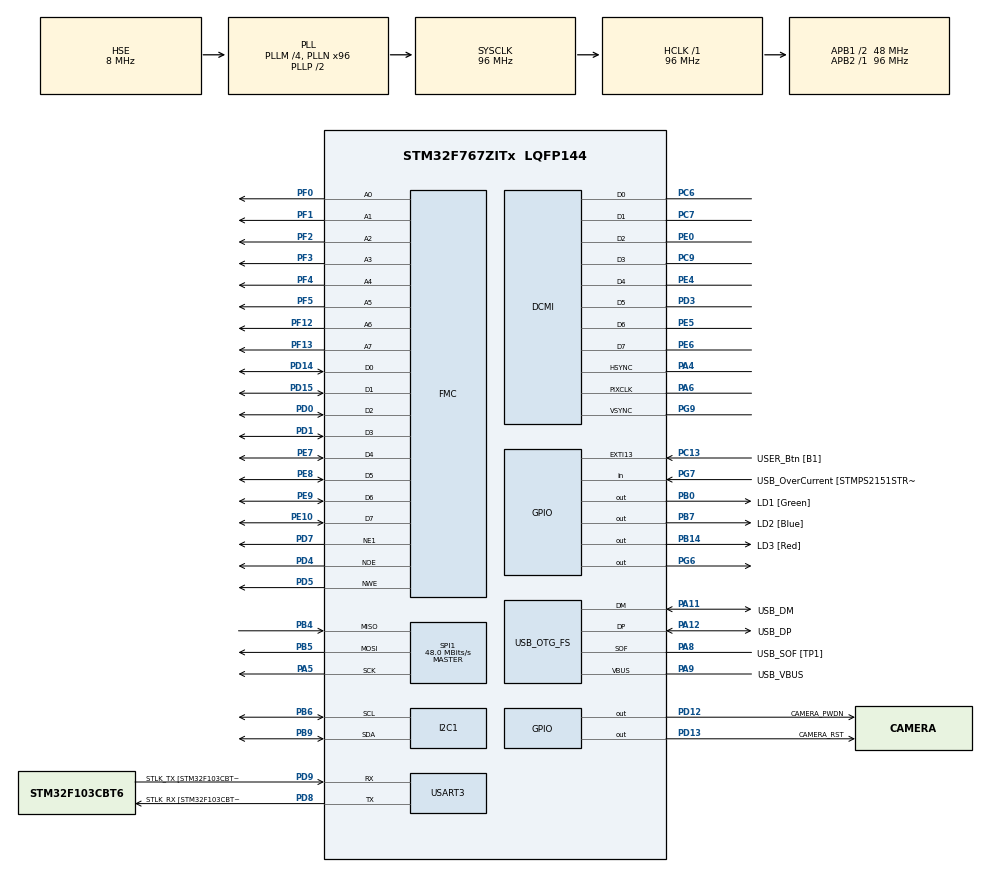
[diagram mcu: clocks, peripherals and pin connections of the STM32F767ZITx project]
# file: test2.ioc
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DCMI.JPEGMode=DCMI_JPEG_DISABLE
DCMI.PCKPolarity=DCMI_PCKPOLARITY_RISING
Dma.DCMI.0.Direction=DMA_PERIPH_TO_MEMORY
Dma.DCMI.0.FIFOMode=DMA_FIFOMODE_ENABLE
Dma.DCMI.0.FIFOThreshold=DMA_FIFO_THRESHOLD_FULL
Dma.DCMI.0.Instance=DMA2_Stream1
Dma.DCMI.0.MemBurst=DMA_MBURST_SINGLE
Dma.DCMI.0.MemDataAlignment=DMA_MDATAALIGN_WORD
Dma.DCMI.0.MemInc=DMA_MINC_ENABLE
Dma.DCMI.0.Mode=DMA_CIRCULAR
Dma.DCMI.0.PeriphBurst=DMA_PBURST_SINGLE
Dma.DCMI.0.PeriphDataAlignment=DMA_PDATAALIGN_WORD
Dma.DCMI.0.PeriphInc=DMA_PINC_DISABLE
Dma.DCMI.0.Priority=DMA_PRIORITY_MEDIUM
Dma.Request0=DCMI
I2C1.Timing=0x20303E5D
Mcu.Family=STM32F7
Mcu.Name=STM32F767ZITx
Mcu.Package=LQFP144
NVIC.DMA2_Stream1_IRQn=true\:0\:0\:false\:false\:true\:false\:true\:true
NVIC.PriorityGroup=NVIC_PRIORITYGROUP_4
PA1.GPIO_Label=RMII_REF_CLK [LAN8742A-CZ-TR_REFCLK0]
PA1.Signal=ETH_REF_CLK
PA10.GPIO_Label=USB_ID
PA10.Signal=USB_OTG_FS_ID
PA11.GPIO_Label=USB_DM
PA11.Mode=Device_Only
PA11.Signal=USB_OTG_FS_DM
PA12.GPIO_Label=USB_DP
PA12.Mode=Device_Only
PA12.Signal=USB_OTG_FS_DP
PA13.GPIO_Label=TMS
PA13.Mode=Serial_Wire
PA13.Signal=SYS_JTMS-SWDIO
PA14.GPIO_Label=TCK
PA14.Mode=Serial_Wire
PA14.Signal=SYS_JTCK-SWCLK
PA2.GPIO_Label=RMII_MDIO [LAN8742A-CZ-TR_MDIO]
PA2.Signal=ETH_MDIO
PA4.Mode=Slave_8_bits_External_Synchro
PA4.Signal=DCMI_HSYNC
PA5.Mode=Full_Duplex_Master
PA5.Signal=SPI1_SCK
PA6.Mode=Slave_8_bits_External_Synchro
PA6.Signal=DCMI_PIXCLK
PA7.GPIO_Label=RMII_CRS_DV [LAN8742A-CZ-TR_CRS_DV]
PA7.Signal=ETH_CRS_DV
PA8.GPIO_Label=USB_SOF [TP1]
PA8.Mode=Activate_SOF_FS
PA8.Signal=USB_OTG_FS_SOF
PA9.GPIO_Label=USB_VBUS
PA9.Mode=Activate_VBUS
PA9.Signal=USB_OTG_FS_VBUS
PB0.GPIO_Label=LD1 [Green]
PB0.Signal=GPIO_Output
PB13.GPIO_Label=RMII_TXD1 [LAN8742A-CZ-TR_TXD1]
PB13.Signal=ETH_TXD1
PB14.GPIO_Label=LD3 [Red]
PB14.Signal=GPIO_Output
PB3.GPIO_Label=SWO
PB3.Signal=SYS_JTDO-SWO
PB4.Mode=Full_Duplex_Master
PB4.Signal=SPI1_MISO
PB5.Mode=Full_Duplex_Master
PB5.Signal=SPI1_MOSI
PB6.GPIO_Pu=GPIO_NOPULL
PB6.Mode=I2C
PB6.Signal=I2C1_SCL
PB7.GPIO_Label=LD2 [Blue]
PB7.Signal=GPIO_Output
PB9.GPIO_Pu=GPIO_NOPULL
PB9.Mode=I2C
PB9.Signal=I2C1_SDA
PC1.GPIO_Label=RMII_MDC [LAN8742A-CZ-TR_MDC]
PC1.Signal=ETH_MDC
PC13.GPIO_Label=USER_Btn [B1]
PC13.Signal=GPXTI13
PC14/OSC32_IN.Mode=LSE-External-Oscillator
PC14/OSC32_IN.Signal=RCC_OSC32_IN
PC15/OSC32_OUT.Mode=LSE-External-Oscillator
PC15/OSC32_OUT.Signal=RCC_OSC32_OUT
PC4.GPIO_Label=RMII_RXD0 [LAN8742A-CZ-TR_RXD0]
PC4.Signal=ETH_RXD0
PC5.GPIO_Label=RMII_RXD1 [LAN8742A-CZ-TR_RXD1]
PC5.Signal=ETH_RXD1
PC6.Mode=Slave_8_bits_External_Synchro
PC6.Signal=DCMI_D0
PC7.Mode=Slave_8_bits_External_Synchro
PC7.Signal=DCMI_D1
PC9.Mode=Slave_8_bits_External_Synchro
PC9.Signal=DCMI_D3
PD0.Signal=FMC_D2_DA2
PD1.Signal=FMC_D3_DA3
PD12.GPIO_Label=CAMERA_PWDN
PD12.Signal=GPIO_Output
PD13.GPIO_Label=CAMERA_RST
PD13.Signal=GPIO_Output
PD14.Signal=FMC_D0_DA0
PD15.Signal=FMC_D1_DA1
PD3.Mode=Slave_8_bits_External_Synchro
PD3.Signal=DCMI_D5
PD4.Signal=FMC_NOE
PD5.Signal=FMC_NWE
PD7.Mode=NorPsramChipSelect1_1
PD7.Signal=FMC_NE1
PD8.GPIO_Label=STLK_RX [STM32F103CBT6_PA3]
PD8.Mode=Asynchronous
PD8.Signal=USART3_TX
PD9.GPIO_Label=STLK_TX [STM32F103CBT6_PA2]
PD9.Mode=Asynchronous
PD9.Signal=USART3_RX
PE0.Mode=Slave_8_bits_External_Synchro
PE0.Signal=DCMI_D2
PE10.Signal=FMC_D7_DA7
PE4.Mode=Slave_8_bits_External_Synchro
PE4.Signal=DCMI_D4
PE5.Mode=Slave_8_bits_External_Synchro
PE5.Signal=DCMI_D6
PE6.Mode=Slave_8_bits_External_Synchro
PE6.Signal=DCMI_D7
PE7.Signal=FMC_D4_DA4
PE8.Signal=FMC_D5_DA5
PE9.Signal=FMC_D6_DA6
PF0.Signal=FMC_A0
PF1.Signal=FMC_A1
PF12.Signal=FMC_A6
PF13.Signal=FMC_A7
PF2.Signal=FMC_A2
PF3.Signal=FMC_A3
PF4.Signal=FMC_A4
PF5.Signal=FMC_A5
PG11.GPIO_Label=RMII_TX_EN [LAN8742A-CZ-TR_TXEN]
PG11.Signal=ETH_TX_EN
PG13.GPIO_Label=RMII_TXD0 [LAN8742A-CZ-TR_TXD0]
PG13.Signal=ETH_TXD0
PG6.Signal=GPIO_Output
PG7.GPIO_Label=USB_OverCurrent [STMPS2151STR_FAULT]
PG7.Signal=GPIO_Input
PG9.Mode=Slave_8_bits_External_Synchro
PG9.Signal=DCMI_VSYNC
PH0/OSC_IN.GPIO_Label=MCO [STM32F103CBT6_PA8]
PH0/OSC_IN.Mode=HSE-External-Clock-Source
PH0/OSC_IN.Signal=RCC_OSC_IN
PH1/OSC_OUT.Mode=HSE-External-Clock-Source
PH1/OSC_OUT.Signal=RCC_OSC_OUT
ProjectManager.HeapSize=0x200
ProjectManager.StackSize=0x400
ProjectManager.TargetToolchain=STM32CubeIDE
RCC.48MHZClocksFreq_Value=24000000
RCC.AHBFreq_Value=96000000
RCC.APB1CLKDivider=RCC_HCLK_DIV2
RCC.APB1Freq_Value=48000000
RCC.APB1TimFreq_Value=96000000
RCC.APB2Freq_Value=96000000
RCC.APB2TimFreq_Value=96000000
RCC.CortexFreq_Value=96000000
RCC.HCLKFreq_Value=96000000
RCC.HSE_VALUE=8000000
RCC.HSI_VALUE=16000000
RCC.PLLM=4
RCC.PLLMUL=RCC_PLL_MUL9
RCC.PLLN=96
RCC.PLLQ=4
RCC.PRESCALERUSB=RCC_USBCLKSOURCE_PLL_DIV1_5
RCC.SYSCLKFreq_VALUE=96000000
RCC.SYSCLKSource=RCC_SYSCLKSOURCE_PLLCLK
RCC.SYSCLKSourceVirtual=RCC_SYSCLKSOURCE_PLLCLK
RCC.USBFreq_Value=48000000
RCC.VCOOutputFreq_Value=192000000
SH.FMC_A0.0=FMC_A0,8b-a1
SH.FMC_A1.0=FMC_A1,8b-a1
SH.FMC_A2.0=FMC_A2,8b-a1
SH.FMC_A3.0=FMC_A3,8b-a1
SH.FMC_A4.0=FMC_A4,8b-a1
SH.FMC_A5.0=FMC_A5,8b-a1
SH.FMC_A6.0=FMC_A6,8b-a1
SH.FMC_A7.0=FMC_A7,8b-a1
SH.FMC_D0_DA0.0=FMC_D0,8b-d1
SH.FMC_D1_DA1.0=FMC_D1,8b-d1
SH.FMC_D2_DA2.0=FMC_D2,8b-d1
SH.FMC_D3_DA3.0=FMC_D3,8b-d1
SH.FMC_D4_DA4.0=FMC_D4,8b-d1
SH.FMC_D5_DA5.0=FMC_D5,8b-d1
SH.FMC_D6_DA6.0=FMC_D6,8b-d1
SH.FMC_D7_DA7.0=FMC_D7,8b-d1
SH.FMC_NOE.0=FMC_NOE,Sram1
SH.FMC_NWE.0=FMC_NWE,Sram1
SPI1.CalculateBaudRate=48.0 MBits/s
SPI1.Direction=SPI_DIRECTION_2LINES
SPI1.Mode=SPI_MODE_MASTER
SPI1.VirtualType=VM_MASTER
USART3.VirtualMode-Asynchronous=VM_ASYNC
USB_OTG_FS.VirtualMode=Device_Only
board=NUCLEO-F767ZI

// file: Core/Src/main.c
/* USER CODE BEGIN Header */
/**
 ******************************************************************************
 * @file           : main.c
 * @brief          : Main program body
 ******************************************************************************
 * @attention
 *
 * Copyright (c) 2024 STMicroelectronics.
 * All rights reserved.
 *
 * This software is licensed under terms that can be found in the LICENSE file
 * in the root directory of this software component.
 * If no LICENSE file comes with this software, it is provided AS-IS.
 *
 ******************************************************************************
 */
/* USER CODE END Header */
#include "main.h"

/* USER CODE BEGIN Includes */
#include "ov5640.h"
#include "string.h"
#include <stdbool.h>
/* USER CODE END Includes */

DCMI_HandleTypeDef hdcmi;
DMA_HandleTypeDef hdma_dcmi;

I2C_HandleTypeDef hi2c1;

SPI_HandleTypeDef hspi1;

UART_HandleTypeDef huart3;

PCD_HandleTypeDef hpcd_USB_OTG_FS;

SRAM_HandleTypeDef hsram1;

void SystemClock_Config(void);
static void MX_GPIO_Init(void);
static void MX_USART3_UART_Init(void);
static void MX_USB_OTG_FS_PCD_Init(void);
static void MX_DCMI_Init(void);
static void MX_I2C1_Init(void);
static void MX_DMA_Init(void);
static void MX_FMC_Init(void);
static void MX_SPI1_Init(void);

/* USER CODE BEGIN 0 */

OV5640_Object_t p_cam;
OV5640_IO_t cam_i2c;
#define IMAGE_SIZE 320*240*2
uint8_t image[IMAGE_SIZE] = { 0 };
bool is_dma_usart_finish = 1;
bool toggle_dummy = 0;

void HAL_UART_TxCpltCallback(UART_HandleTypeDef *huart) {
	if (huart == &huart3) {
		is_dma_usart_finish = 1;
	}
}

int32_t OV5640_WriteReg(uint16_t device_address, uint16_t reg, uint8_t *data,
		uint16_t length) {
	if (HAL_I2C_Mem_Write(&hi2c1, device_address, reg, 2, data, length, 1000)
			== HAL_OK) {
		return OV5640_OK;
	}
	return OV5640_ERROR;
}
int32_t OV5640_ReadReg(uint16_t device_address, uint16_t reg, uint8_t *data,
		uint16_t length) {
	if (HAL_I2C_Mem_Read(&hi2c1, device_address + 1, reg, 2, data, length, 1000)
			== HAL_OK) {
		return OV5640_OK;
	}
	return OV5640_ERROR;
}
void OV5640_Powerup() {
	HAL_GPIO_WritePin(CAMERA_PWDN_GPIO_Port, CAMERA_PWDN_Pin, 0);
	HAL_GPIO_WritePin(CAMERA_RST_GPIO_Port, CAMERA_RST_Pin, 0);
	HAL_Delay(100);
	HAL_GPIO_WritePin(CAMERA_RST_GPIO_Port, CAMERA_RST_Pin, 1);
	HAL_Delay(500);
}

/* USER CODE END 0 */

int main(void)
{

  /* MCU Configuration--------------------------------------------------------*/

  /* Reset of all peripherals, Initializes the Flash interface and the Systick. */
  HAL_Init();

  /* Configure the system clock */
  SystemClock_Config();

  /* Initialize all configured peripherals */
  MX_GPIO_Init();
  MX_USART3_UART_Init();
  MX_USB_OTG_FS_PCD_Init();
  MX_DCMI_Init();
  MX_I2C1_Init();
  MX_DMA_Init();
  MX_FMC_Init();
  MX_SPI1_Init();
  /* USER CODE BEGIN 2 */
  cam_i2c.Address = 0x78;
  cam_i2c.WriteReg = OV5640_WriteReg;
  cam_i2c.ReadReg = OV5640_ReadReg;

  OV5640_RegisterBusIO(&p_cam, &cam_i2c);

	int32_t status = OV5640_ERROR;
	uint32_t resolution;
	uint8_t RGBGain[6];
	memset(RGBGain, 0, sizeof(RGBGain));

	OV5640_Powerup();
	status = OV5640_CAMERA_Driver.Init(&p_cam, OV5640_R320x240, OV5640_RGB565);
	// verify with resolution ()
	status = OV5640_CAMERA_Driver.GetResolution(&p_cam, &resolution);
	status = OV5640_CAMERA_Driver.SetColorEffect(&p_cam,
	OV5640_COLOR_EFFECT_NONE);
	status = OV5640_CAMERA_Driver.SetBrightness(&p_cam, 2);
	status = OV5640_CAMERA_Driver.SetSaturation(&p_cam, 0);
	status = OV5640_CAMERA_Driver.SetContrast(&p_cam, 0);
	status = OV5640_CAMERA_Driver.SetHueDegree(&p_cam, 0);
	status = OV5640_CAMERA_Driver.SetLightMode(&p_cam, OV5640_LIGHT_MANUAL_DEFAULT);
//	status = OV5640_CAMERA_Driver.SetLightMode(&p_cam, OV5640_LIGHT_AUTO);
	HAL_Delay(10000);

	/////////////////////////////////////////
	memset(image, 0, sizeof(image));
	//  status = OV5640_CAMERA_Driver.GetAWBRGBGain(&p_cam, RGBGain);
	HAL_DCMI_Start_DMA(&hdcmi, DCMI_MODE_SNAPSHOT, (uint32_t) image,
			sizeof(image));
	//  status = OV5640_CAMERA_Driver.GetAWBRGBGain(&p_cam, RGBGain);
	HAL_Delay(500);
	HAL_DCMI_Suspend(&hdcmi);
	HAL_DCMI_Stop(&hdcmi);
	HAL_Delay(500);

	if (sizeof(image) > 65535) {
		HAL_UART_Transmit(&huart3, image, 65535, 10000);
		HAL_UART_Transmit(&huart3, image + 65535, 65535, 10000);
		HAL_UART_Transmit(&huart3, image + 65535*2, sizeof(image) - 65535*2, 10000);
	} else {
		HAL_UART_Transmit(&huart3, image, sizeof(image), 10000);
	}
	HAL_Delay(500);
	/////////////////////////////////////////

  /* USER CODE END 2 */

  /* Infinite loop */
  /* USER CODE BEGIN WHILE */
	while (1) {

//  	  uint8_t dummy2[] = {'a','b','c'};
//
//
//  	  if (is_dma_usart_finish)
//  	  {
//  		  if (toggle_dummy)
//  		  {
//  			  HAL_UART_Transmit_DMA(&huart2, dummy, sizeof(dummy));
//  			  toggle_dummy = 0;
//  		  }
//  		  else
//  		  {
//  			  HAL_UART_Transmit_DMA(&huart2, dummy2, sizeof(dummy2));
//  			  toggle_dummy = 1;
//  		  }
//  		  is_dma_usart_finish = 0;
//  	  }

    /* USER CODE END WHILE */

	}
}

void SystemClock_Config(void)
{
  RCC_OscInitTypeDef RCC_OscInitStruct = {0};
  RCC_ClkInitTypeDef RCC_ClkInitStruct = {0};

  /** Configure LSE Drive Capability
  */
  HAL_PWR_EnableBkUpAccess();

  /** Configure the main internal regulator output voltage
  */
  __HAL_RCC_PWR_CLK_ENABLE();
  __HAL_PWR_VOLTAGESCALING_CONFIG(PWR_REGULATOR_VOLTAGE_SCALE3);

  /** Initializes the RCC Oscillators according to the specified parameters
  * in the RCC_OscInitTypeDef structure.
  */
  RCC_OscInitStruct.OscillatorType = RCC_OSCILLATORTYPE_HSE;
  RCC_OscInitStruct.HSEState = RCC_HSE_BYPASS;
  RCC_OscInitStruct.PLL.PLLState = RCC_PLL_ON;
  RCC_OscInitStruct.PLL.PLLSource = RCC_PLLSOURCE_HSE;
  RCC_OscInitStruct.PLL.PLLM = 4;
  RCC_OscInitStruct.PLL.PLLN = 96;
  RCC_OscInitStruct.PLL.PLLP = RCC_PLLP_DIV2;
  RCC_OscInitStruct.PLL.PLLQ = 4;
  RCC_OscInitStruct.PLL.PLLR = 2;
  if (HAL_RCC_OscConfig(&RCC_OscInitStruct) != HAL_OK)
  {
    Error_Handler();
  }

  /** Activate the Over-Drive mode
  */
  if (HAL_PWREx_EnableOverDrive() != HAL_OK)
  {
    Error_Handler();
  }

  /** Initializes the CPU, AHB and APB buses clocks
  */
  RCC_ClkInitStruct.ClockType = RCC_CLOCKTYPE_HCLK|RCC_CLOCKTYPE_SYSCLK
                              |RCC_CLOCKTYPE_PCLK1|RCC_CLOCKTYPE_PCLK2;
  RCC_ClkInitStruct.SYSCLKSource = RCC_SYSCLKSOURCE_PLLCLK;
  RCC_ClkInitStruct.AHBCLKDivider = RCC_SYSCLK_DIV1;
  RCC_ClkInitStruct.APB1CLKDivider = RCC_HCLK_DIV2;
  RCC_ClkInitStruct.APB2CLKDivider = RCC_HCLK_DIV1;

  if (HAL_RCC_ClockConfig(&RCC_ClkInitStruct, FLASH_LATENCY_3) != HAL_OK)
  {
    Error_Handler();
  }
}

static void MX_DCMI_Init(void)
{

  hdcmi.Instance = DCMI;
  hdcmi.Init.SynchroMode = DCMI_SYNCHRO_HARDWARE;
  hdcmi.Init.PCKPolarity = DCMI_PCKPOLARITY_RISING;
  hdcmi.Init.VSPolarity = DCMI_VSPOLARITY_HIGH;
  hdcmi.Init.HSPolarity = DCMI_HSPOLARITY_HIGH;
  hdcmi.Init.CaptureRate = DCMI_CR_ALL_FRAME;
  hdcmi.Init.ExtendedDataMode = DCMI_EXTEND_DATA_8B;
  hdcmi.Init.JPEGMode = DCMI_JPEG_DISABLE;
  hdcmi.Init.ByteSelectMode = DCMI_BSM_ALL;
  hdcmi.Init.ByteSelectStart = DCMI_OEBS_ODD;
  hdcmi.Init.LineSelectMode = DCMI_LSM_ALL;
  hdcmi.Init.LineSelectStart = DCMI_OELS_ODD;
  if (HAL_DCMI_Init(&hdcmi) != HAL_OK)
  {
    Error_Handler();
  }

}

static void MX_I2C1_Init(void)
{

  hi2c1.Instance = I2C1;
  hi2c1.Init.Timing = 0x20303E5D;
  hi2c1.Init.OwnAddress1 = 0;
  hi2c1.Init.AddressingMode = I2C_ADDRESSINGMODE_7BIT;
  hi2c1.Init.DualAddressMode = I2C_DUALADDRESS_DISABLE;
  hi2c1.Init.OwnAddress2 = 0;
  hi2c1.Init.OwnAddress2Masks = I2C_OA2_NOMASK;
  hi2c1.Init.GeneralCallMode = I2C_GENERALCALL_DISABLE;
  hi2c1.Init.NoStretchMode = I2C_NOSTRETCH_DISABLE;
  if (HAL_I2C_Init(&hi2c1) != HAL_OK)
  {
    Error_Handler();
  }

  /** Configure Analogue filter
  */
  if (HAL_I2CEx_ConfigAnalogFilter(&hi2c1, I2C_ANALOGFILTER_ENABLE) != HAL_OK)
  {
    Error_Handler();
  }

  /** Configure Digital filter
  */
  if (HAL_I2CEx_ConfigDigitalFilter(&hi2c1, 0) != HAL_OK)
  {
    Error_Handler();
  }

}

static void MX_SPI1_Init(void)
{

  /* SPI1 parameter configuration*/
  hspi1.Instance = SPI1;
  hspi1.Init.Mode = SPI_MODE_MASTER;
  hspi1.Init.Direction = SPI_DIRECTION_2LINES;
  hspi1.Init.DataSize = SPI_DATASIZE_4BIT;
  hspi1.Init.CLKPolarity = SPI_POLARITY_LOW;
  hspi1.Init.CLKPhase = SPI_PHASE_1EDGE;
  hspi1.Init.NSS = SPI_NSS_SOFT;
  hspi1.Init.BaudRatePrescaler = SPI_BAUDRATEPRESCALER_2;
  hspi1.Init.FirstBit = SPI_FIRSTBIT_MSB;
  hspi1.Init.TIMode = SPI_TIMODE_DISABLE;
  hspi1.Init.CRCCalculation = SPI_CRCCALCULATION_DISABLE;
  hspi1.Init.CRCPolynomial = 7;
  hspi1.Init.CRCLength = SPI_CRC_LENGTH_DATASIZE;
  hspi1.Init.NSSPMode = SPI_NSS_PULSE_ENABLE;
  if (HAL_SPI_Init(&hspi1) != HAL_OK)
  {
    Error_Handler();
  }

}

static void MX_USART3_UART_Init(void)
{

  huart3.Instance = USART3;
  huart3.Init.BaudRate = 115200;
  huart3.Init.WordLength = UART_WORDLENGTH_8B;
  huart3.Init.StopBits = UART_STOPBITS_1;
  huart3.Init.Parity = UART_PARITY_NONE;
  huart3.Init.Mode = UART_MODE_TX_RX;
  huart3.Init.HwFlowCtl = UART_HWCONTROL_NONE;
  huart3.Init.OverSampling = UART_OVERSAMPLING_16;
  huart3.Init.OneBitSampling = UART_ONE_BIT_SAMPLE_DISABLE;
  huart3.AdvancedInit.AdvFeatureInit = UART_ADVFEATURE_NO_INIT;
  if (HAL_UART_Init(&huart3) != HAL_OK)
  {
    Error_Handler();
  }

}

static void MX_USB_OTG_FS_PCD_Init(void)
{

  hpcd_USB_OTG_FS.Instance = USB_OTG_FS;
  hpcd_USB_OTG_FS.Init.dev_endpoints = 6;
  hpcd_USB_OTG_FS.Init.speed = PCD_SPEED_FULL;
  hpcd_USB_OTG_FS.Init.dma_enable = DISABLE;
  hpcd_USB_OTG_FS.Init.phy_itface = PCD_PHY_EMBEDDED;
  hpcd_USB_OTG_FS.Init.Sof_enable = ENABLE;
  hpcd_USB_OTG_FS.Init.low_power_enable = DISABLE;
  hpcd_USB_OTG_FS.Init.lpm_enable = DISABLE;
  hpcd_USB_OTG_FS.Init.vbus_sensing_enable = ENABLE;
  hpcd_USB_OTG_FS.Init.use_dedicated_ep1 = DISABLE;
  if (HAL_PCD_Init(&hpcd_USB_OTG_FS) != HAL_OK)
  {
    Error_Handler();
  }

}

static void MX_DMA_Init(void)
{

  /* DMA controller clock enable */
  __HAL_RCC_DMA2_CLK_ENABLE();

  /* DMA interrupt init */
  /* DMA2_Stream1_IRQn interrupt configuration */
  HAL_NVIC_SetPriority(DMA2_Stream1_IRQn, 0, 0);
  HAL_NVIC_EnableIRQ(DMA2_Stream1_IRQn);

}

/* FMC initialization function */
static void MX_FMC_Init(void)
{

  FMC_NORSRAM_TimingTypeDef Timing = {0};

  /** Perform the SRAM1 memory initialization sequence
  */
  hsram1.Instance = FMC_NORSRAM_DEVICE;
  hsram1.Extended = FMC_NORSRAM_EXTENDED_DEVICE;
  /* hsram1.Init */
  hsram1.Init.NSBank = FMC_NORSRAM_BANK1;
  hsram1.Init.DataAddressMux = FMC_DATA_ADDRESS_MUX_DISABLE;
  hsram1.Init.MemoryType = FMC_MEMORY_TYPE_SRAM;
  hsram1.Init.MemoryDataWidth = FMC_NORSRAM_MEM_BUS_WIDTH_8;
  hsram1.Init.BurstAccessMode = FMC_BURST_ACCESS_MODE_DISABLE;
  hsram1.Init.WaitSignalPolarity = FMC_WAIT_SIGNAL_POLARITY_LOW;
  hsram1.Init.WaitSignalActive = FMC_WAIT_TIMING_BEFORE_WS;
  hsram1.Init.WriteOperation = FMC_WRITE_OPERATION_DISABLE;
  hsram1.Init.WaitSignal = FMC_WAIT_SIGNAL_DISABLE;
  hsram1.Init.ExtendedMode = FMC_EXTENDED_MODE_DISABLE;
  hsram1.Init.AsynchronousWait = FMC_ASYNCHRONOUS_WAIT_DISABLE;
  hsram1.Init.WriteBurst = FMC_WRITE_BURST_DISABLE;
  hsram1.Init.ContinuousClock = FMC_CONTINUOUS_CLOCK_SYNC_ONLY;
  hsram1.Init.WriteFifo = FMC_WRITE_FIFO_ENABLE;
  hsram1.Init.PageSize = FMC_PAGE_SIZE_NONE;
  /* Timing */
  Timing.AddressSetupTime = 15;
  Timing.AddressHoldTime = 15;
  Timing.DataSetupTime = 255;
  Timing.BusTurnAroundDuration = 15;
  Timing.CLKDivision = 16;
  Timing.DataLatency = 17;
  Timing.AccessMode = FMC_ACCESS_MODE_A;
  /* ExtTiming */

  if (HAL_SRAM_Init(&hsram1, &Timing, NULL) != HAL_OK)
  {
    Error_Handler( );
  }

}

static void MX_GPIO_Init(void)
{
  GPIO_InitTypeDef GPIO_InitStruct = {0};

  /* GPIO Ports Clock Enable */
  __HAL_RCC_GPIOE_CLK_ENABLE();
  __HAL_RCC_GPIOC_CLK_ENABLE();
  __HAL_RCC_GPIOF_CLK_ENABLE();
  __HAL_RCC_GPIOH_CLK_ENABLE();
  __HAL_RCC_GPIOA_CLK_ENABLE();
  __HAL_RCC_GPIOB_CLK_ENABLE();
  __HAL_RCC_GPIOD_CLK_ENABLE();
  __HAL_RCC_GPIOG_CLK_ENABLE();

  /*Configure GPIO pin Output Level */
  HAL_GPIO_WritePin(GPIOB, LD1_Pin|LD3_Pin|LD2_Pin, GPIO_PIN_RESET);

  /*Configure GPIO pin Output Level */
  HAL_GPIO_WritePin(GPIOD, CAMERA_PWDN_Pin|CAMERA_RST_Pin, GPIO_PIN_RESET);

  /*Configure GPIO pin Output Level */
  HAL_GPIO_WritePin(GPIOG, GPIO_PIN_6, GPIO_PIN_RESET);

  /*Configure GPIO pin : USER_Btn_Pin */
  GPIO_InitStruct.Pin = USER_Btn_Pin;
  GPIO_InitStruct.Mode = GPIO_MODE_IT_RISING;
  GPIO_InitStruct.Pull = GPIO_NOPULL;
  HAL_GPIO_Init(USER_Btn_GPIO_Port, &GPIO_InitStruct);

  /*Configure GPIO pins : RMII_MDC_Pin RMII_RXD0_Pin RMII_RXD1_Pin */
  GPIO_InitStruct.Pin = RMII_MDC_Pin|RMII_RXD0_Pin|RMII_RXD1_Pin;
  GPIO_InitStruct.Mode = GPIO_MODE_AF_PP;
  GPIO_InitStruct.Pull = GPIO_NOPULL;
  GPIO_InitStruct.Speed = GPIO_SPEED_FREQ_VERY_HIGH;
  GPIO_InitStruct.Alternate = GPIO_AF11_ETH;
  HAL_GPIO_Init(GPIOC, &GPIO_InitStruct);

  /*Configure GPIO pins : RMII_REF_CLK_Pin RMII_MDIO_Pin RMII_CRS_DV_Pin */
  GPIO_InitStruct.Pin = RMII_REF_CLK_Pin|RMII_MDIO_Pin|RMII_CRS_DV_Pin;
  GPIO_InitStruct.Mode = GPIO_MODE_AF_PP;
  GPIO_InitStruct.Pull = GPIO_NOPULL;
  GPIO_InitStruct.Speed = GPIO_SPEED_FREQ_VERY_HIGH;
  GPIO_InitStruct.Alternate = GPIO_AF11_ETH;
  HAL_GPIO_Init(GPIOA, &GPIO_InitStruct);

  /*Configure GPIO pins : LD1_Pin LD3_Pin LD2_Pin */
  GPIO_InitStruct.Pin = LD1_Pin|LD3_Pin|LD2_Pin;
  GPIO_InitStruct.Mode = GPIO_MODE_OUTPUT_PP;
  GPIO_InitStruct.Pull = GPIO_NOPULL;
  GPIO_InitStruct.Speed = GPIO_SPEED_FREQ_LOW;
  HAL_GPIO_Init(GPIOB, &GPIO_InitStruct);

  /*Configure GPIO pin : RMII_TXD1_Pin */
  GPIO_InitStruct.Pin = RMII_TXD1_Pin;
  GPIO_InitStruct.Mode = GPIO_MODE_AF_PP;
  GPIO_InitStruct.Pull = GPIO_NOPULL;
  GPIO_InitStruct.Speed = GPIO_SPEED_FREQ_VERY_HIGH;
  GPIO_InitStruct.Alternate = GPIO_AF11_ETH;
  HAL_GPIO_Init(RMII_TXD1_GPIO_Port, &GPIO_InitStruct);

  /*Configure GPIO pins : CAMERA_PWDN_Pin CAMERA_RST_Pin */
  GPIO_InitStruct.Pin = CAMERA_PWDN_Pin|CAMERA_RST_Pin;
  GPIO_InitStruct.Mode = GPIO_MODE_OUTPUT_PP;
  GPIO_InitStruct.Pull = GPIO_NOPULL;
  GPIO_InitStruct.Speed = GPIO_SPEED_FREQ_LOW;
  HAL_GPIO_Init(GPIOD, &GPIO_InitStruct);

  /*Configure GPIO pin : PG6 */
  GPIO_InitStruct.Pin = GPIO_PIN_6;
  GPIO_InitStruct.Mode = GPIO_MODE_OUTPUT_PP;
  GPIO_InitStruct.Pull = GPIO_NOPULL;
  GPIO_InitStruct.Speed = GPIO_SPEED_FREQ_LOW;
  HAL_GPIO_Init(GPIOG, &GPIO_InitStruct);

  /*Configure GPIO pin : USB_OverCurrent_Pin */
  GPIO_InitStruct.Pin = USB_OverCurrent_Pin;
  GPIO_InitStruct.Mode = GPIO_MODE_INPUT;
  GPIO_InitStruct.Pull = GPIO_NOPULL;
  HAL_GPIO_Init(USB_OverCurrent_GPIO_Port, &GPIO_InitStruct);

  /*Configure GPIO pins : RMII_TX_EN_Pin RMII_TXD0_Pin */
  GPIO_InitStruct.Pin = RMII_TX_EN_Pin|RMII_TXD0_Pin;
  GPIO_InitStruct.Mode = GPIO_MODE_AF_PP;
  GPIO_InitStruct.Pull = GPIO_NOPULL;
  GPIO_InitStruct.Speed = GPIO_SPEED_FREQ_VERY_HIGH;
  GPIO_InitStruct.Alternate = GPIO_AF11_ETH;
  HAL_GPIO_Init(GPIOG, &GPIO_InitStruct);

}

void Error_Handler(void)
{
	__disable_irq();
	while (1) {
	}
}
